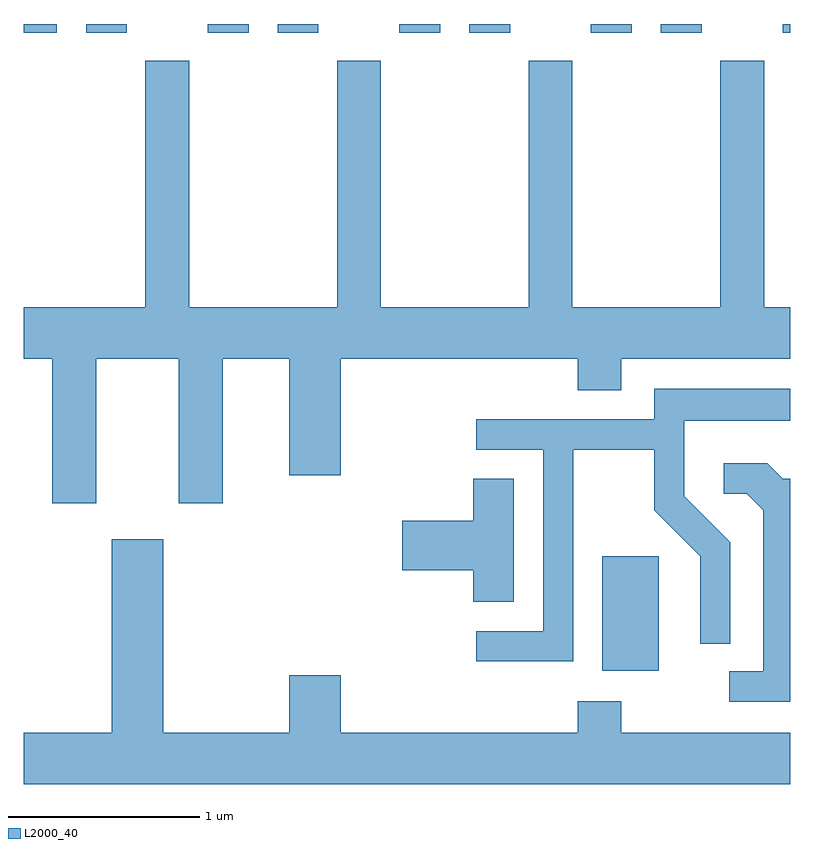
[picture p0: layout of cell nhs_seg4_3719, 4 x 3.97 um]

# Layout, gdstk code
import gdstk
lib = gdstk.Library(unit=1e-6, precision=1e-09)
def R(c, l, rs):  # rectangles x0, y0, x1, y1
    for r in rs: c.add(gdstk.rectangle(r[:2], r[2:], *l))
def P(c, l, *ps):  # polygons
    for p in ps: c.add(gdstk.Polygon(p, *l))
L2000_40 = (2000, 40)

nhs_seg4_3719 = lib.new_cell('nhs_seg4_3719')
R(nhs_seg4_3719, L2000_40, [(296.631,1348.606,296.924,1349.204), (293.611,1351.936,293.784,1351.982), (293.936,1351.936,294.149,1351.982), (294.571,1351.936,294.784,1351.982), (294.936,1351.936,295.149,1351.982), (295.571,1351.936,295.784,1351.982), (295.936,1351.936,296.149,1351.982), (296.571,1351.936,296.784,1351.982), (296.936,1351.936,297.149,1351.982), (297.571,1351.936,297.611,1351.982)])
P(nhs_seg4_3719, L2000_40, [(294.474,1351.789),(294.246,1351.789),(294.246,1350.504),(293.611,1350.504),(293.611,1350.236),(293.761,1350.236),(293.761,1349.481),(293.989,1349.481),(293.989,1350.236),(294.421,1350.236),(294.421,1349.481),(294.649,1349.481),(294.649,1350.236),(294.996,1350.236),(294.996,1349.626),(295.264,1349.626),(295.264,1350.236),(296.501,1350.236),(296.501,1350.071),(296.729,1350.071),(296.729,1350.236),(297.611,1350.236),(297.611,1350.504),(297.474,1350.504),(297.474,1351.789),(297.246,1351.789),(297.246,1350.504),(296.474,1350.504),(296.474,1351.789),(296.246,1351.789),(296.246,1350.504),(295.474,1350.504),(295.474,1351.789),(295.246,1351.789),(295.246,1350.504),(294.474,1350.504)],
  [(296.479,1349.761),(296.901,1349.761),(296.901,1349.444),(297.141,1349.204),(297.141,1348.748),(297.299,1348.748),(297.299,1349.277),(297.059,1349.517),(297.059,1349.911),(297.611,1349.911),(297.611,1350.079),(296.901,1350.079),(296.901,1349.919),(295.973,1349.919),(295.973,1349.761),(296.321,1349.761),(296.321,1348.814),(295.973,1348.814),(295.973,1348.656),(296.479,1348.656)],
  [(297.611,1349.609),(297.572,1349.609),(297.492,1349.689),(297.263,1349.689),(297.263,1349.531),(297.384,1349.531),(297.471,1349.444),(297.471,1348.604),(297.293,1348.604),(297.293,1348.446),(297.611,1348.446)],
  [(296.169,1349.609),(295.956,1349.609),(295.956,1349.389),(295.586,1349.389),(295.586,1349.131),(295.956,1349.131),(295.956,1348.966),(296.169,1348.966)],
  [(297.611,1348.284),(296.729,1348.284),(296.729,1348.449),(296.501,1348.449),(296.501,1348.284),(295.264,1348.284),(295.264,1348.584),(294.996,1348.584),(294.996,1348.284),(294.339,1348.284),(294.339,1349.294),(294.071,1349.294),(294.071,1348.284),(293.611,1348.284),(293.611,1348.016),(297.611,1348.016)])

lib.write_gds('nhs_seg4_3719.gds')
